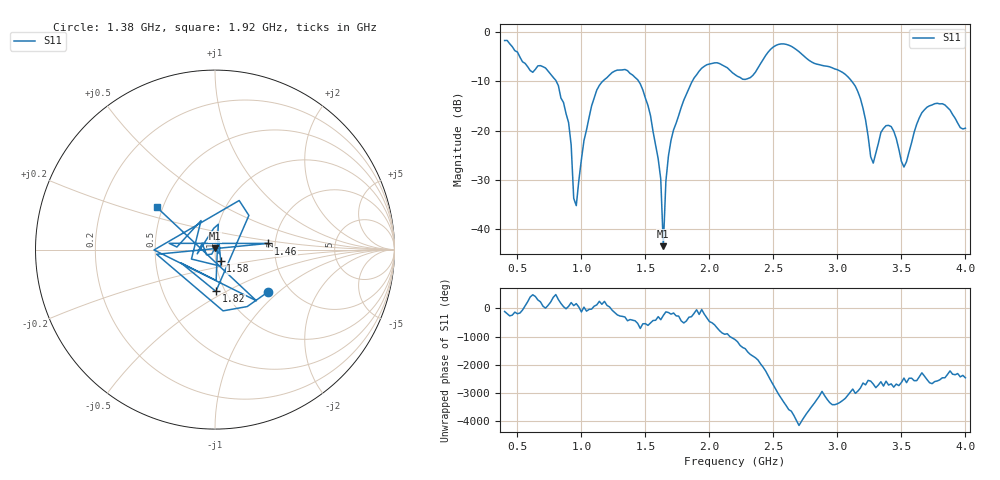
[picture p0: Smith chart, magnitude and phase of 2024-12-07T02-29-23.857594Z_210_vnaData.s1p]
!Created with skrf (http://scikit-rf.org).
# Hz S RI R 50.0
!freq ReS11 ImS11
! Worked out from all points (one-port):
!   181 points, 400 MHz to 4 GHz, reference 50 ohm
!   lowest |S11| = -43.4 dB at 1.64 GHz (marker M1), VSWR 1.01, Z = 49.8 + j0.644 ohm
!   |S11| at or under -10 dB: 803.1 MHz to 1.168 GHz (364.5 MHz wide, 37 % of centre); 1.447 GHz to 1.867 GHz (420.1 MHz wide, 25.4 % of centre); 3.111 GHz to end of sweep
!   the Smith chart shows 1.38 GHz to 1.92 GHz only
!   S11 on the Smith chart (normalised r, x): 1.38 GHz: 1.56, -0.85; 1.46 GHz: 1.83, +0.14; 1.58 GHz: 1.06, -0.13; 1.82 GHz: 0.91, -0.45; 1.92 GHz: 0.47, +0.26
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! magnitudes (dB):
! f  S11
! 400 MHz  -1.8
! 860 MHz  -14.3
! 900 MHz  -18.4
! 940 MHz  -33.7
! 960 MHz  -35.2
! 1.02 GHz  -22.0
! 1.1 GHz  -13.4
! 1.3 GHz  -7.8
! 1.38 GHz  -8.4
! 1.46 GHz  -10.5
! 1.58 GHz  -23.0
! 1.62 GHz  -29.8
! 1.64 GHz  -43.4
! 1.66 GHz  -30.2
! 1.68 GHz  -25.1
! 1.76 GHz  -16.9
! 1.82 GHz  -12.7
! 1.92 GHz  -8.0
! 2.2 GHz  -8.7
! 2.66 GHz  -3.3
! 3.1 GHz  -9.6
! 3.18 GHz  -13.5
! 3.28 GHz  -26.6
! 3.38 GHz  -19.0
! 3.52 GHz  -27.4
! 3.56 GHz  -24.3
! 3.72 GHz  -15.0
! 4 GHz  -19.5
